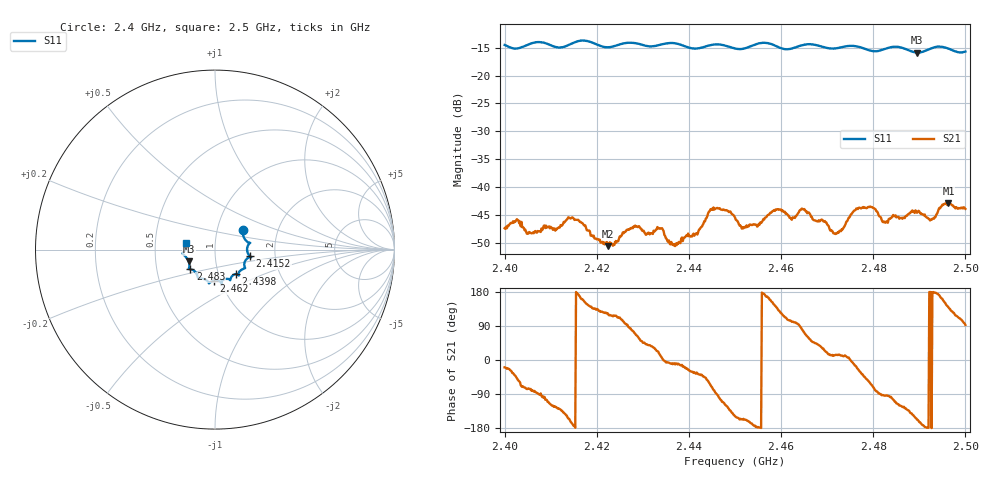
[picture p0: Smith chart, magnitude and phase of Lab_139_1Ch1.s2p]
# Hz S RI R 50
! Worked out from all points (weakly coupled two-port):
!   601 points, 2.4 GHz to 2.5 GHz, reference 50 ohm
!   highest |S21| = -42.90 dB at 2.4963 GHz (marker M1); lowest = -50.7 dB at 2.4225 GHz (marker M2)
!   lowest |S11| = -15.9 dB at 2.4895 GHz (marker M3), VSWR 1.38, Z = 36.9 - j5 ohm
!   |S11| at or under -10 dB: start of sweep to end of sweep
!   S12 and S22 are empty: the file has one direction only
!   S11 on the Smith chart (normalised r, x): 2.4 GHz: 1.33, +0.29; 2.4152 GHz: 1.48, -0.12; 2.4398 GHz: 1.21, -0.34; 2.462 GHz: 0.93, -0.33; 2.483 GHz: 0.74, -0.17; 2.5 GHz: 0.72, +0.06
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2.4e9  0.155 0.1066  0.00401 -0.00141  0 0  0 0
2.415167e9  0.1951 -0.0378  -0.00501 -0.000592  0 0  0 0
2.416667e9  0.2018 -0.0425  -0.0045 0.00157  0 0  0 0
2.4225e9  0.1651 -0.0701  -0.00147 0.00254  0 0  0 0
2.428167e9  0.1661 -0.1039  0.00139 0.00415  0 0  0 0
2.433333e9  0.131 -0.1334  0.00392 0.0016  0 0  0 0
2.4365e9  0.1327 -0.1442  0.003 -0.000586  0 0  0 0
2.439833e9  0.1157 -0.1364  0.00342 -0.00167  0 0  0 0
2.445167e9  0.0847 -0.1692  0.00155 -0.00603  0 0  0 0
2.45e9  0.0645 -0.1628  -0.00452 -0.00277  0 0  0 0
2.451833e9  0.0456 -0.168  -0.00386 -0.00177  0 0  0 0
2.458833e9  0.0322 -0.1817  -0.00491 0.0039  0 0  0 0
2.462e9  -0.00496 -0.1734  -0.00132 0.0051  0 0  0 0
2.466667e9  -0.0343 -0.1877  0.00349 0.00408  0 0  0 0
2.471833e9  -0.0681 -0.1617  0.00367 0.000908  0 0  0 0
2.477333e9  -0.0968 -0.1504  0.00531 -0.00356  0 0  0 0
2.483e9  -0.1375 -0.1095  -0.000286 -0.00491  0 0  0 0
2.483333e9  -0.14 -0.1093  -0.000429 -0.0051  0 0  0 0
2.4895e9  -0.1463 -0.0659  -0.0054 -0.00225  0 0  0 0
2.492667e9  -0.1736 -0.0296  -0.00507 -2.33e-05  0 0  0 0
2.496333e9  -0.1739 -0.0127  -0.00539 0.00471  0 0  0 0
2.5e9  -0.1595 0.0392  -0.000289 0.00634  0 0  0 0
